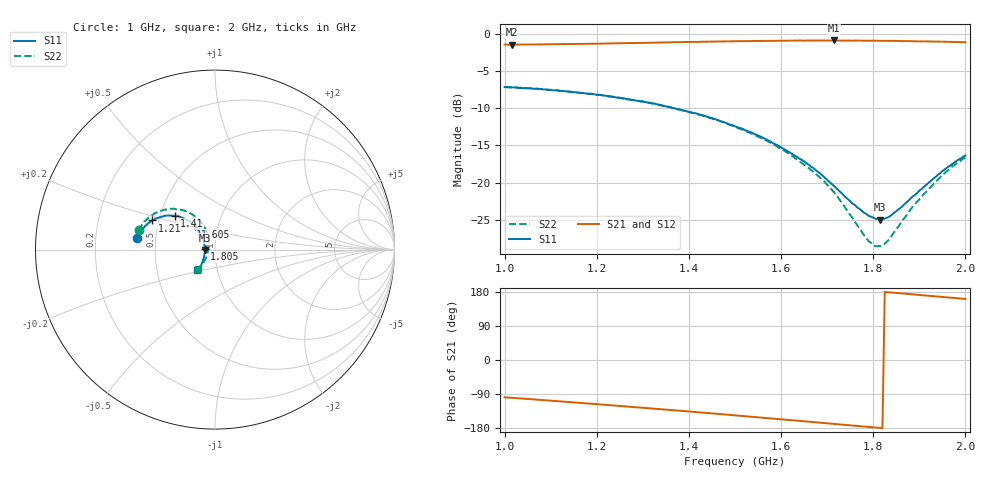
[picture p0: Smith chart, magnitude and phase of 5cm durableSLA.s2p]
!Keysight Technologies N9950B: A.12.38
!Date: Saturday, 22 April 2023 16:31:58
!Timezone: (UTC-06:00) Central Time (US & Canada)
!Model: N9950B
!Serial: MY61131330
!GPS Latitude:
!GPS Longitude:
!GPS TimeStamp: 0001-01-01 00:00:00Z
!GPS Seconds Since Last Read: 0
!CHECKSUM:1565177220
!Correction: S11(ON U?)S21(ON U?)S12(ON U?)S22(ON U?)
!S2P File: Measurements:S11,S21,S12,S22:
# Hz S DB R 50
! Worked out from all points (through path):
!   201 points, 1 GHz to 2 GHz, reference 50 ohm
!   highest |S21| = -0.91 dB at 1.715 GHz (marker M1); lowest = -1.5 dB at 1.015 GHz (marker M2)
!   group delay of S21, straight-line fit = 282 ps
!   lowest |S11| = -25.0 dB at 1.815 GHz (marker M3), VSWR 1.12, Z = 44.7 - j0.141 ohm
!   |S11| at or under -10 dB: 1.366 GHz to end of sweep
!   |S22| runs from -28.6 to -7.2 dB; largest |S21 - S12| = 0.0037
!   S11 on the Smith chart (normalised r, x): 1 GHz: 0.39, +0.06; 1.21 GHz: 0.46, +0.18; 1.41 GHz: 0.60, +0.24; 1.605 GHz: 0.78, +0.21; 1.805 GHz: 0.89, +0.01; 2 GHz: 0.80, -0.19
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1e9  -7.18 171.4  -1.48 -98.4  -1.49 -98.4  -7.16 165.5
1.015e9  -7.21 170.6  -1.48 -99.6  -1.49 -99.8  -7.22 164.5
1.17e9  -7.98 158.4  -1.38 -113.7  -1.37 -113.7  -7.98 151.0
1.21e9  -8.24 155.2  -1.33 -117.4  -1.35 -117.4  -8.24 147.7
1.335e9  -9.56 145.5  -1.19 -129.5  -1.20 -129.4  -9.54 137.0
1.41e9  -10.67 140.1  -1.11 -136.9  -1.11 -136.8  -10.66 130.6
1.5e9  -12.44 134.3  -1.02 -146.1  -1.02 -146.0  -12.51 123.2
1.56e9  -13.97 131.1  -0.97 -152.2  -0.99 -152.3  -14.09 119.0
1.605e9  -15.46 130.2  -0.94 -157.0  -0.96 -157.0  -15.66 116.8
1.67e9  -18.05 131.2  -0.93 -163.9  -0.94 -163.9  -18.55 114.9
1.695e9  -19.35 133.4  -0.93 -166.5  -0.93 -166.5  -19.94 116.1
1.715e9  -20.48 136.2  -0.91 -168.6  -0.95 -168.7  -21.32 119.1
1.755e9  -22.83 147.6  -0.94 -172.9  -0.95 -172.9  -24.76 127.6
1.785e9  -24.23 161.8  -0.94 -176.1  -0.94 -176.1  -27.48 143.9
1.805e9  -24.87 174.6  -0.94 -178.2  -0.97 -178.3  -28.55 162.9
1.815e9  -24.98 -178.4  -0.97 -179.3  -0.96 -179.4  -28.54 174.5
1.82e9  -24.91 -174.4  -0.97 -179.8  -0.96 -179.8  -28.50 179.7
1.835e9  -24.58 -164.6  -0.98 178.5  -0.98 178.5  -27.63 -164.3
1.885e9  -21.91 -142.6  -1.02 173.2  -1.02 173.2  -23.31 -137.1
1.92e9  -20.03 -134.8  -1.05 169.5  -1.06 169.5  -20.87 -132.3
1.97e9  -17.60 -130.5  -1.12 164.3  -1.12 164.3  -17.92 -130.9
2e9  -16.38 -130.4  -1.15 161.2  -1.16 161.3  -16.63 -131.3
